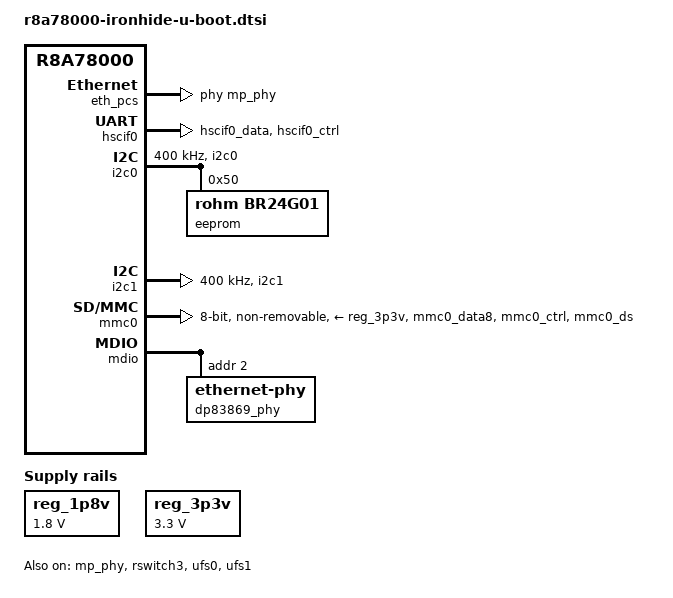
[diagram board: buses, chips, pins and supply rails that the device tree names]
// SPDX-License-Identifier: (GPL-2.0-only OR BSD-2-Clause)
/*
 * Device Tree Source extras for U-Boot for the Ironhide board
 *
 * Copyright (C) 2025 Renesas Electronics Corp.
 */

#include <dt-bindings/net/ti-dp83869.h>
#include "r8a78000-u-boot.dtsi"

/ {
	aliases {
		i2c0 = &i2c0;
		i2c1 = &i2c1;
		mmc0 = &mmc0;
	};

	reg_1p8v: regulator-1p8v {
		compatible = "regulator-fixed";
		regulator-name = "fixed-1.8V";
		regulator-min-microvolt = <1800000>;
		regulator-max-microvolt = <1800000>;
		regulator-boot-on;
		regulator-always-on;
	};

	reg_3p3v: regulator-3p3v {
		compatible = "regulator-fixed";
		regulator-name = "fixed-3.3V";
		regulator-min-microvolt = <3300000>;
		regulator-max-microvolt = <3300000>;
		regulator-boot-on;
		regulator-always-on;
	};
};

&cpg {
	firmware = <&scmi>;
};

&eth_pcs {
	phys = <&mp_phy 2 1>;
	status = "okay";
};

&hscif0 {
	pinctrl-0 = <&hscif0_pins>;
	pinctrl-names = "default";
};

&i2c0 {
	pinctrl-0 = <&i2c0_pins>;
	pinctrl-names = "default";
	clock-frequency = <400000>;
	status = "okay";

	eeprom@50 {
		compatible = "rohm,br24g01", "atmel,24c01";
		reg = <0x50>;
		pagesize = <8>;
	};
};

&i2c1 {
	pinctrl-0 = <&i2c1_pins>;
	pinctrl-names = "default";
	clock-frequency = <400000>;
	status = "okay";
};

&mdlc_hscn {
	firmware = <&scmi>;
};

&mdlc_pere {
	firmware = <&scmi>;
};

&mmc0 {
	pinctrl-0 = <&mmc0_pins>;
	pinctrl-1 = <&mmc0_pins>;
	pinctrl-names = "default", "state_uhs";

	bus-width = <8>;
	full-pwr-cycle-in-suspend;
	mmc-hs200-1_8v;
	mmc-hs400-1_8v;
	no-sd;
	no-sdio;
	non-removable;

	vmmc-supply = <&reg_3p3v>;
	vqmmc-supply = <&reg_1p8v>;

	status = "okay";
};

&mp_phy {
	status = "okay";
};

&pfc {
	pinctrl-0 = <&scif_clk_pins>;
	pinctrl-names = "default";

	eth25g2_pins: eth25g2 {
		groups = "eth25g2_mdio", "eth25g2_link", "eth25g2_phyint";
		function = "eth25g2";
		drive-strength = <24>;
	};

	ethes0_pins: ethes0 {
		groups = "ethes0_match", "ethes0_capture", "ethes0_pps";
		function = "ethes0";
		drive-strength = <24>;
	};

	hscif0_pins: hscif0 {
		groups = "hscif0_data", "hscif0_ctrl";
		function = "hscif0";
	};

	i2c0_pins: i2c0 {
		groups = "i2c0";
		function = "i2c0";
	};

	i2c1_pins: i2c1 {
		groups = "i2c1";
		function = "i2c1";
	};

	mmc0_pins: mmc0 {
		groups = "mmc0_data8", "mmc0_ctrl", "mmc0_ds";
		function = "mmc0";
		drive-strength = <24>;
	};

	rsw3_pins: rsw3 {
		groups = "rsw3_match", "rsw3_capture", "rsw3_pps";
		function = "rsw3";
		drive-strength = <24>;
	};

	scif_clk_pins: scif-clk {
		groups = "scif_clk";
		function = "scif_clk";
	};
};

&rswitch3 {
	pinctrl-0 = <&rsw3_pins>, <&eth25g2_pins>, <&ethes0_pins>;
	pinctrl-names = "default";
	status = "okay";

	ethernet-ports {
		#address-cells = <1>;
		#size-cells = <0>;

		/*
		 * NOTE: Only port@4 is configured for R-Car X5H board.
		 * Other ports (0-3, 5-12) are currently unused or not
		 * connected.
		 */
		port@4 {
			reg = <4>;
			renesas,connect_to_xpcs;
			phy-handle = <&dp83869_phy>;
			phy-mode = "sgmii";
			phys = <&eth_pcs 5>;

			mdio {
				#address-cells = <1>;
				#size-cells = <0>;

				dp83869_phy: ethernet-phy@2 {
					reg = <2>;
					ti,sgmii-interface;
					ti,max-output-impedance;
					ti,refclk-output-enable;
					ti,clk-output-sel = <DP83869_CLK_O_SEL_REF_CLK>;
				};
			};
		};
	};
};

&ufs0 {
	status = "okay";
};

&ufs1 {
	status = "okay";
};
